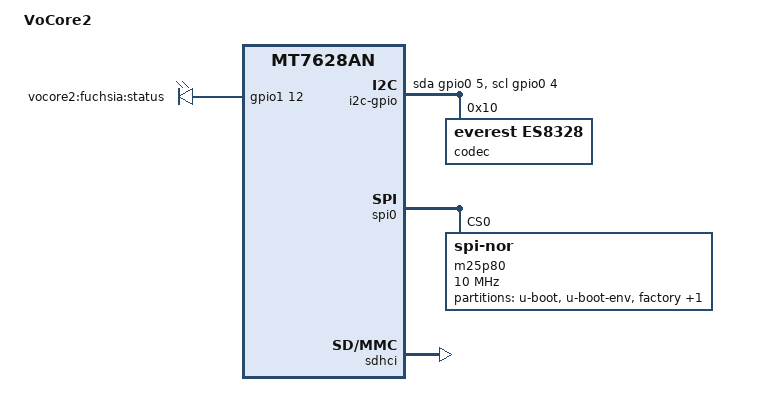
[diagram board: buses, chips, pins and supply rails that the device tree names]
/dts-v1/;

#include "VOCORE2.dtsi"

#include <dt-bindings/gpio/gpio.h>

/ {
	compatible = "vocore,vocore2", "mediatek,mt7628an-soc";
	model = "VoCore2";

	aliases {
		led-status = &led_status;
	};

	gpio-leds {
		compatible = "gpio-leds";

		led_status: status {
			label = "vocore2:fuchsia:status";
			gpios = <&gpio1 12 GPIO_ACTIVE_HIGH>;
		};
	};

	sound {
		compatible = "simple-audio-card";
		simple-audio-card,name = "soundcard";
		simple-audio-card,format = "i2s";
		simple-audio-card,widgets = 
			"Microphone", "Microphone Jack",
                        "Headphone", "Headphone Jack";
		simple-audio-card,routing =
                        "LINPUT1", "Microphone Jack",
                        "RINPUT1", "Microphone Jack",
                        "Headphone Jack", "LOUT1",
                        "Headphone Jack", "ROUT1";
		simple-audio-card,mclk-fs = <272>;

		simple-audio-card,cpu {
			sound-dai = <&i2s>;
		};

		simple-audio-card,codec {
			sound-dai = <&codec>;
		};
	};

        i2c-gpio {
                compatible = "i2c-gpio";

                gpios = <&gpio0 5 0 &gpio0 4 0>;
                i2c-gpio,delay-us = <5>;

                codec: es8388@10 {
                        #sound-dai-cells = <0>;
                        compatible = "everest,es8328";
                        reg = <0x10>;

                        clocks = <&clkctrl 20>;
                        clock-names = "refclk";
                };
        };
};

&spi0 {
	status = "okay";

	m25p80@0 {
		compatible = "jedec,spi-nor";
		reg = <0>;
		spi-max-frequency = <10000000>;
		m25p,chunked-io = <32>;

		partitions {
			compatible = "fixed-partitions";
			#address-cells = <1>;
			#size-cells = <1>;

			partition@0 {
				label = "u-boot";
				reg = <0x0 0x30000>;
				read-only;
			};

			partition@30000 {
				label = "u-boot-env";
				reg = <0x30000 0x10000>;
				read-only;
			};

			factory: partition@40000 {
				label = "factory";
				reg = <0x40000 0x10000>;
				read-only;
			};

			partition@50000 {
				label = "firmware";
				reg = <0x50000 0xfb0000>;
			};
		};
	};
};

&sdhci {
       status = "okay";
       mediatek,cd-poll;
};

&i2s {
	#sound-dai-cells = <0>;
};
